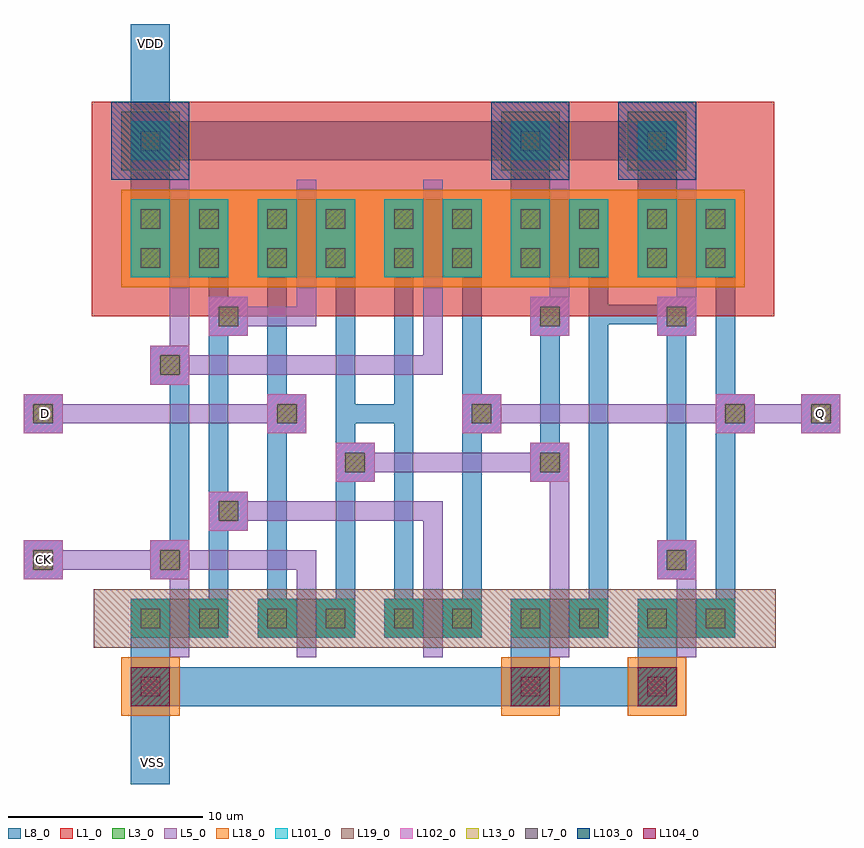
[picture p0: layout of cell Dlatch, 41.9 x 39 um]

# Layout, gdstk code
import gdstk
lib = gdstk.Library(unit=1e-6, precision=1e-07)
def R(c, l, rs):  # rectangles x0, y0, x1, y1
    for r in rs: c.add(gdstk.rectangle(r[:2], r[2:], *l))
def A(c, l, x, y, w, h, nx, ny, dx, dy):  # array of equal rectangles
    R(c, l, [(x+i*dx, y+j*dy, x+i*dx+w, y+j*dy+h) for i in range(nx) for j in range(ny)])
L1_0 = (1, 0)
L3_0 = (3, 0)
L5_0 = (5, 0)
L7_0 = (7, 0)
L8_0 = (8, 0)
L13_0 = (13, 0)
L18_0 = (18, 0)
L19_0 = (19, 0)
L101_0 = (101, 0)
L102_0 = (102, 0)
L103_0 = (103, 0)
L104_0 = (104, 0)

dcont1 = lib.new_cell('dcont1')
R(dcont1, L3_0, [(-1,-1,1,1)])
R(dcont1, L7_0, [(-0.5,-0.5,0.5,0.5)])
R(dcont1, L8_0, [(-1,-1,1,1)])
R(dcont1, L13_0, [(-0.5,-0.5,0.5,0.5)])
R(dcont1, L101_0, [(-1,-1,1,1)])

nsubcont = lib.new_cell('nsubcont')
R(nsubcont, L1_0, [(-2,-2,2,2)])
R(nsubcont, L19_0, [(-1.5,-1.5,1.5,1.5)])
R(nsubcont, L103_0, [(-2,-2,2,2)])
nsubcont.add(gdstk.Reference(dcont1, (0,0)))

dcont = lib.new_cell('dcont')
R(dcont, L3_0, [(-1,-1,1,1)])
R(dcont, L7_0, [(-0.5,-0.5,0.5,0.5)])
R(dcont, L8_0, [(-1,-1,1,1)])
R(dcont, L13_0, [(-0.5,-0.5,0.5,0.5)])
R(dcont, L101_0, [(-1,-1,1,1)])

pcont = lib.new_cell('pcont')
R(pcont, L5_0, [(-1,-1,1,1)])
R(pcont, L7_0, [(-0.5,-0.5,0.5,0.5)])
R(pcont, L8_0, [(-1,-1,1,1)])
R(pcont, L13_0, [(-0.5,-0.5,0.5,0.5)])
R(pcont, L102_0, [(-1,-1,1,1)])

psubcont_1 = lib.new_cell('psubcont$1')
R(psubcont_1, L18_0, [(-1.5,-1.5,1.5,1.5)])
R(psubcont_1, L104_0, [(-1,-1,1,1)])
psubcont_1.add(gdstk.Reference(dcont1, (0,0)))

dlatch = lib.new_cell('Dlatch')
R(dlatch, L1_0, [(-2,-9,33,2)])
A(dlatch, L3_0, 0, -25.5, 5, 2, 5, 1, 6.5, 0)
A(dlatch, L3_0, 0, -7, 5, 4, 5, 1, 6.5, 0)
R(dlatch, L8_0, [(0,-33,2,-27), (0,-29,28,-27), (0,-27.5,2,-25), (19.5,-27.5,21.5,-25), (26,-27.5,28,-25), (0,-3.5,2,-0.5), (19.5,-3.5,21.5,-0.5), (26,-3.5,28,-0.5), (0,-1,28,1), (0,-1,2,6)])
R(dlatch, L18_0, [(-0.5,-7.5,31.5,-2.5)])
R(dlatch, L19_0, [(-1.9,-26,33.1,-23)])
dlatch.add(gdstk.FlexPath([(4.5,-5.5),(4.5,-25)], 1, ends="flush", simple_path=True, layer=8, datatype=0))  # L8_0
dlatch.add(gdstk.FlexPath([(7.5,-5.5),(7.5,-22),(7.5,-25)], 1, ends="flush", simple_path=True, layer=8, datatype=0))  # L8_0
dlatch.add(gdstk.FlexPath([(11,-5.5),(11,-25)], 1, ends="flush", simple_path=True, layer=8, datatype=0))  # L8_0
dlatch.add(gdstk.FlexPath([(2.5,-11),(2.5,-19),(2.5,-22)], 1, ends="flush", simple_path=True, layer=8, datatype=0))  # L8_0
dlatch.add(gdstk.FlexPath([(14,-5.5),(14,-25)], 1, ends="flush", simple_path=True, layer=8, datatype=0))  # L8_0
dlatch.add(gdstk.FlexPath([(17.5,-25),(17.5,-5.5)], 1, ends="flush", simple_path=True, layer=8, datatype=0))  # L8_0
dlatch.add(gdstk.FlexPath([(10.5,-14),(14.5,-14)], 1, ends="flush", simple_path=True, layer=8, datatype=0))  # L8_0
dlatch.add(gdstk.FlexPath([(24,-5.5),(24,-25)], 1, ends="flush", simple_path=True, layer=8, datatype=0))  # L8_0
dlatch.add(gdstk.FlexPath([(30.5,-5.5),(30.5,-25)], 1, ends="flush", simple_path=True, layer=8, datatype=0))  # L8_0
dlatch.add(gdstk.FlexPath([(21.5,-17),(21.5,-8.5)], 1, ends="flush", simple_path=True, layer=8, datatype=0))  # L8_0
dlatch.add(gdstk.FlexPath([(28,-8.5),(28,-22)], 1, ends="flush", simple_path=True, layer=8, datatype=0))  # L8_0
dlatch.add(gdstk.FlexPath([(28.6,-8.9),(23.5,-8.9),(23.5,-8.9)], 1, ends="flush", simple_path=True, layer=8, datatype=0))  # L8_0
dlatch.add(gdstk.FlexPath([(2.5,-2),(2.5,-12)], 1, ends="flush", simple_path=True, layer=5, datatype=0))  # L5_0
dlatch.add(gdstk.FlexPath([(22,-2),(22,-9.5)], 1, ends="flush", simple_path=True, layer=5, datatype=0))  # L5_0
dlatch.add(gdstk.FlexPath([(28.5,-26.5),(28.5,-21)], 1, ends="flush", simple_path=True, layer=5, datatype=0))  # L5_0
dlatch.add(gdstk.FlexPath([(4.5,-9),(9,-9),(9,-2),(9,-2),(9,-2)], 1, ends="flush", simple_path=True, layer=5, datatype=0))  # L5_0
dlatch.add(gdstk.FlexPath([(2,-11.5),(15.5,-11.5),(15.5,-2)], 1, ends="flush", simple_path=True, layer=5, datatype=0))  # L5_0
dlatch.add(gdstk.FlexPath([(4.5,-19),(15.5,-19),(15.5,-26.5)], 1, ends="flush", simple_path=True, layer=5, datatype=0))  # L5_0
dlatch.add(gdstk.FlexPath([(2.5,-21),(2.5,-26.5)], 1, ends="flush", simple_path=True, layer=5, datatype=0))  # L5_0
dlatch.add(gdstk.FlexPath([(8.5,-14),(-5,-14)], 1, ends="flush", simple_path=True, layer=5, datatype=0))  # L5_0
dlatch.add(gdstk.FlexPath([(9,-26.5),(9,-21.5),(2,-21.5)], 1, ends="flush", simple_path=True, layer=5, datatype=0))  # L5_0
dlatch.add(gdstk.FlexPath([(11,-16.5),(22.5,-16.5)], 1, ends="flush", simple_path=True, layer=5, datatype=0))  # L5_0
dlatch.add(gdstk.FlexPath([(28.5,-2),(28.5,-9.5)], 1, ends="flush", simple_path=True, layer=5, datatype=0))  # L5_0
dlatch.add(gdstk.FlexPath([(22,-16),(22,-26.5)], 1, ends="flush", simple_path=True, layer=5, datatype=0))  # L5_0
dlatch.add(gdstk.FlexPath([(31.5,-14),(17.5,-14)], 1, ends="flush", simple_path=True, layer=5, datatype=0))  # L5_0
dlatch.add(gdstk.FlexPath([(2.5,-21.5),(-5,-21.5),(-5,-21.5),(-5,-21.5)], 1, ends="flush", simple_path=True, layer=5, datatype=0))  # L5_0
dlatch.add(gdstk.FlexPath([(30.5,-14),(35.9,-14)], 1, ends="flush", simple_path=True, layer=5, datatype=0))  # L5_0
dlatch.add(gdstk.Reference(nsubcont, (1,0)))
dlatch.add(gdstk.Reference(dcont, (7.5,-4)))
dlatch.add(gdstk.Reference(dcont, (7.5,-6)))
dlatch.add(gdstk.Reference(dcont, (10.5,-4)))
dlatch.add(gdstk.Reference(dcont, (10.5,-6)))
dlatch.add(gdstk.Reference(dcont, (1,-4)))
dlatch.add(gdstk.Reference(dcont, (1,-6)))
dlatch.add(gdstk.Reference(dcont, (4,-4)))
dlatch.add(gdstk.Reference(dcont, (4,-6)))
dlatch.add(gdstk.Reference(dcont, (14,-4)))
dlatch.add(gdstk.Reference(dcont, (14,-6)))
dlatch.add(gdstk.Reference(dcont, (17,-4)))
dlatch.add(gdstk.Reference(dcont, (17,-6)))
dlatch.add(gdstk.Reference(dcont, (20.5,-4)))
dlatch.add(gdstk.Reference(dcont, (20.5,-6)))
dlatch.add(gdstk.Reference(dcont, (23.5,-4)))
dlatch.add(gdstk.Reference(dcont, (23.5,-6)))
dlatch.add(gdstk.Reference(dcont, (27,-4)))
dlatch.add(gdstk.Reference(dcont, (27,-6)))
dlatch.add(gdstk.Reference(dcont, (30,-4)))
dlatch.add(gdstk.Reference(dcont, (30,-6)))
dlatch.add(gdstk.Reference(pcont, (5,-9)))
dlatch.add(gdstk.Reference(dcont, (30,-24.5)))
dlatch.add(gdstk.Reference(dcont, (27,-24.5)))
dlatch.add(gdstk.Reference(dcont, (23.5,-24.5)))
dlatch.add(gdstk.Reference(dcont, (20.5,-24.5)))
dlatch.add(gdstk.Reference(dcont, (17,-24.5)))
dlatch.add(gdstk.Reference(dcont, (14,-24.5)))
dlatch.add(gdstk.Reference(dcont, (10.5,-24.5)))
dlatch.add(gdstk.Reference(dcont, (7.5,-24.5)))
dlatch.add(gdstk.Reference(dcont, (4,-24.5)))
dlatch.add(gdstk.Reference(dcont, (1,-24.5)))
dlatch.add(gdstk.Reference(pcont, (5,-19)))
dlatch.add(gdstk.Reference(pcont, (2,-11.5)))
dlatch.add(gdstk.Reference(pcont, (2,-21.5)))
dlatch.add(gdstk.Reference(pcont, (8,-14)))
dlatch.add(gdstk.Reference(pcont, (11.5,-16.5)))
dlatch.add(gdstk.Reference(pcont, (28,-9)))
dlatch.add(gdstk.Reference(pcont, (31,-14)))
dlatch.add(gdstk.Reference(pcont, (21.5,-9)))
dlatch.add(gdstk.Reference(pcont, (21.5,-16.5)))
dlatch.add(gdstk.Reference(pcont, (18,-14)))
dlatch.add(gdstk.Reference(pcont, (28,-21.5)))
dlatch.add(gdstk.Reference(nsubcont, (20.5,0)))
dlatch.add(gdstk.Reference(nsubcont, (27,0)))
dlatch.add(gdstk.Reference(pcont, (-4.5,-14)))
dlatch.add(gdstk.Reference(pcont, (-4.5,-21.5)))
dlatch.add(gdstk.Reference(pcont, (35.4,-14)))
dlatch.add(gdstk.Reference(psubcont_1, (1,-28)))
dlatch.add(gdstk.Reference(psubcont_1, (20.5,-28)))
dlatch.add(gdstk.Reference(psubcont_1, (27,-28)))
dlatch.add(gdstk.Label('VDD', (1,5), layer=8, texttype=0))
dlatch.add(gdstk.Label('VSS', (1.1,-31.9), layer=8, texttype=0))
dlatch.add(gdstk.Label('D', (-4.4,-14), layer=8, texttype=0))
dlatch.add(gdstk.Label('CK', (-4.5,-21.5), layer=8, texttype=0))
dlatch.add(gdstk.Label('Q', (35.4,-14), layer=8, texttype=0))

lib.write_gds('Dlatch.gds')
